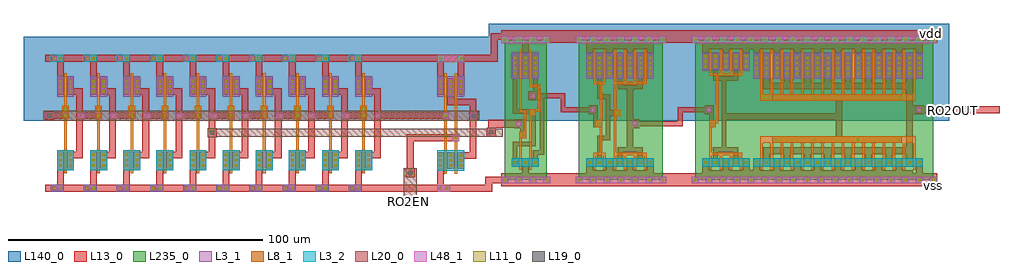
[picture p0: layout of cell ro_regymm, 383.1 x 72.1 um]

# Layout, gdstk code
import gdstk
lib = gdstk.Library(unit=1e-6, precision=1e-07)
def R(c, l, rs):  # rectangles x0, y0, x1, y1
    for r in rs: c.add(gdstk.rectangle(r[:2], r[2:], *l))
def A(c, l, x, y, w, h, nx, ny, dx, dy):  # array of equal rectangles
    R(c, l, [(x+i*dx, y+j*dy, x+i*dx+w, y+j*dy+h) for i in range(nx) for j in range(ny)])
def P(c, l, *ps):  # polygons
    for p in ps: c.add(gdstk.Polygon(p, *l))
L3_1 = (3, 1)
L3_2 = (3, 2)
L8_1 = (8, 1)
L11_0 = (11, 0)
L13_0 = (13, 0)
L19_0 = (19, 0)
L20_0 = (20, 0)
L48_1 = (48, 1)
L140_0 = (140, 0)
L235_0 = (235, 0)

buf_x4 = lib.new_cell('BUF_X4')
A(buf_x4, L3_1, -1.3, -1.3, 2.6, 2.6, 7, 1, 5.5, 0)
R(buf_x4, L3_1, [(2.8,39.7,29.4,49.9), (2.8,39.7,29.4,49.9)])
A(buf_x4, L3_2, -1.3, 53.7, 2.6, 2.6, 7, 1, 5.5, 0)
R(buf_x4, L3_2, [(2.8,5.1,29.4,8.5)])
P(buf_x4, L8_1, [(5.6,3.9),(5.6,10.7),(8.1,10.7),(8.1,20.7),(6.5,20.7),(6.5,23.3),(8.1,23.3),(8.1,37.5),(5.6,37.5),(5.6,51.1),(6.6,51.1),(6.6,38.5),(9.6,38.5),(9.6,51.1),(10.6,51.1),(10.6,37.5),(9.1,37.5),(9.1,10.7),(10.6,10.7),(10.6,3.9),(9.6,3.9),(9.6,9.7),(6.6,9.7),(6.6,3.9)],
  [(13.6,3.9),(13.6,51.1),(14.6,51.1),(14.6,38.5),(17.6,38.5),(17.6,51.1),(18.6,51.1),(18.6,38.5),(21.6,38.5),(21.6,51.1),(22.6,51.1),(22.6,38.5),(25.6,38.5),(25.6,51.1),(26.6,51.1),(26.6,37.5),(14.6,37.5),(14.6,27.5),(16.2,27.5),(16.2,24.9),(14.6,24.9),(14.6,10.7),(26.6,10.7),(26.6,3.9),(25.6,3.9),(25.6,9.7),(22.6,9.7),(22.6,3.9),(21.6,3.9),(21.6,9.7),(18.6,9.7),(18.6,3.9),(17.6,3.9),(17.6,9.7),(14.6,9.7),(14.6,3.9)])
A(buf_x4, L11_0, -0.5, -0.5, 1, 1, 7, 2, 5.5, 55)
A(buf_x4, L11_0, 3.6, 6.3, 1, 1, 3, 2, 4, 35)
A(buf_x4, L11_0, 11.6, 6.3, 1, 1, 5, 2, 4, 35)
A(buf_x4, L11_0, 3.6, 43.3, 1, 1, 3, 3, 4, 2)
A(buf_x4, L11_0, 11.6, 43.3, 1, 1, 5, 3, 4, 2)
R(buf_x4, L11_0, [(7.3,21.5,8.3,22.5), (14.4,25.7,15.4,26.7)])
P(buf_x4, L13_0, [(-1.3,-1.3),(-1.3,1.3),(2.8,1.3),(2.8,8.5),(5.4,8.5),(5.4,3.7),(10.8,3.7),(10.8,8.5),(13.4,8.5),(13.4,3.7),(18.8,3.7),(18.8,8.5),(21.4,8.5),(21.4,3.7),(26.8,3.7),(26.8,8.5),(29.4,8.5),(29.4,1.3),(34.3,1.3),(34.3,-1.3)],
  [(5.6,20.7),(5.6,25.8),(3.8,25.8),(3.8,29.2),(7.4,29.2),(7.4,23.3),(9.1,23.3),(9.1,20.7)],
  [(6.8,5.1),(6.8,8.5),(7.2,8.5),(7.2,17.3),(10.5,17.3),(10.5,31.7),(7.2,31.7),(7.2,39.7),(6.8,39.7),(6.8,49.9),(9.4,49.9),(9.4,39.7),(9,39.7),(9,33.5),(12.3,33.5),(12.3,27.5),(16.2,27.5),(16.2,24.9),(12.3,24.9),(12.3,15.5),(9,15.5),(9,8.5),(9.4,8.5),(9.4,5.1)],
  [(14.8,5.1),(14.8,8.5),(15.2,8.5),(15.2,12.7),(18.8,12.7),(18.8,35.5),(15.2,35.5),(15.2,39.7),(14.8,39.7),(14.8,49.9),(17.4,49.9),(17.4,39.7),(17,39.7),(17,37.3),(23.2,37.3),(23.2,39.7),(22.8,39.7),(22.8,49.9),(25.4,49.9),(25.4,39.7),(25,39.7),(25,35.5),(21.4,35.5),(21.4,23.7),(23.7,23.7),(23.7,20.3),(21.4,20.3),(21.4,12.7),(25,12.7),(25,8.5),(25.4,8.5),(25.4,5.1),(22.8,5.1),(22.8,8.5),(23.2,8.5),(23.2,10.9),(17,10.9),(17,8.5),(17.4,8.5),(17.4,5.1)],
  [(2.8,39.7),(2.8,53.7),(-1.3,53.7),(-1.3,56.3),(34.3,56.3),(34.3,53.7),(29.4,53.7),(29.4,39.7),(26.8,39.7),(26.8,51.3),(21.4,51.3),(21.4,39.7),(18.8,39.7),(18.8,51.3),(13.4,51.3),(13.4,39.7),(10.8,39.7),(10.8,51.3),(5.4,51.3),(5.4,39.7)])
R(buf_x4, L48_1, [(-1.3,-1.3,34.3,1.3), (21.1,21.1,22.9,22.9), (4.6,26.6,6.4,28.4), (-1.3,53.7,34.3,56.3)])
R(buf_x4, L140_0, [(-6.3,23.2,39.3,61.3)])
R(buf_x4, L235_0, [(0,0,33,55)])
buf_x4.add(gdstk.Label('Y', (22,22), layer=48, texttype=0))
buf_x4.add(gdstk.Label('A', (5.5,27.5), layer=48, texttype=0))
buf_x4.add(gdstk.Label('vdd', (0,55), layer=48, texttype=0))

buf_x16 = lib.new_cell('BUF_X16')
A(buf_x16, L3_1, -1.3, -1.3, 2.6, 2.6, 18, 1, 5.5, 0)
R(buf_x16, L3_1, [(22.8,39.7,89.4,49.9), (22.8,39.7,89.4,49.9), (2.8,43.1,21.4,49.9), (2.8,43.1,21.4,49.9)])
A(buf_x16, L3_2, -1.3, 53.7, 2.6, 2.6, 18, 1, 5.5, 0)
R(buf_x16, L3_2, [(2.8,5.1,21.4,8.5), (22.8,5.1,89.4,8.5)])
P(buf_x16, L8_1, [(25.6,3.9),(25.6,17.2),(86.6,17.2),(86.6,3.9),(85.6,3.9),(85.6,14.6),(82.6,14.6),(82.6,3.9),(81.6,3.9),(81.6,14.6),(78.6,14.6),(78.6,3.9),(77.6,3.9),(77.6,14.6),(74.6,14.6),(74.6,3.9),(73.6,3.9),(73.6,14.6),(70.6,14.6),(70.6,3.9),(69.6,3.9),(69.6,14.6),(66.6,14.6),(66.6,3.9),(65.6,3.9),(65.6,14.6),(62.6,14.6),(62.6,3.9),(61.6,3.9),(61.6,14.6),(58.6,14.6),(58.6,3.9),(57.6,3.9),(57.6,14.6),(54.6,14.6),(54.6,3.9),(53.6,3.9),(53.6,14.6),(50.6,14.6),(50.6,3.9),(49.6,3.9),(49.6,14.6),(46.6,14.6),(46.6,3.9),(45.6,3.9),(45.6,14.6),(42.6,14.6),(42.6,3.9),(41.6,3.9),(41.6,14.6),(38.6,14.6),(38.6,3.9),(37.6,3.9),(37.6,14.6),(34.6,14.6),(34.6,3.9),(33.6,3.9),(33.6,14.6),(30.6,14.6),(30.6,3.9),(29.6,3.9),(29.6,14.6),(26.6,14.6),(26.6,3.9)],
  [(5.6,3.9),(5.6,23.3),(8.1,23.3),(8.1,40.9),(5.6,40.9),(5.6,51.1),(6.6,51.1),(6.6,41.9),(9.6,41.9),(9.6,51.1),(10.6,51.1),(10.6,41.9),(13.6,41.9),(13.6,51.1),(14.6,51.1),(14.6,41.9),(17.6,41.9),(17.6,51.1),(18.6,51.1),(18.6,40.9),(9.1,40.9),(9.1,22.3),(8.2,22.3),(8.2,20.7),(6.6,20.7),(6.6,10.7),(18.6,10.7),(18.6,3.9),(17.6,3.9),(17.6,9.7),(14.6,9.7),(14.6,3.9),(13.6,3.9),(13.6,9.7),(10.6,9.7),(10.6,3.9),(9.6,3.9),(9.6,9.7),(6.6,9.7),(6.6,3.9)],
  [(25.6,31),(25.6,51.1),(26.6,51.1),(26.6,33.6),(29.6,33.6),(29.6,51.1),(30.6,51.1),(30.6,33.6),(33.6,33.6),(33.6,51.1),(34.6,51.1),(34.6,33.6),(37.6,33.6),(37.6,51.1),(38.6,51.1),(38.6,33.6),(41.6,33.6),(41.6,51.1),(42.6,51.1),(42.6,33.6),(45.6,33.6),(45.6,51.1),(46.6,51.1),(46.6,33.6),(49.6,33.6),(49.6,51.1),(50.6,51.1),(50.6,33.6),(53.6,33.6),(53.6,51.1),(54.6,51.1),(54.6,33.6),(57.6,33.6),(57.6,51.1),(58.6,51.1),(58.6,33.6),(61.6,33.6),(61.6,51.1),(62.6,51.1),(62.6,33.6),(65.6,33.6),(65.6,51.1),(66.6,51.1),(66.6,33.6),(69.6,33.6),(69.6,51.1),(70.6,51.1),(70.6,33.6),(73.6,33.6),(73.6,51.1),(74.6,51.1),(74.6,33.6),(77.6,33.6),(77.6,51.1),(78.6,51.1),(78.6,33.6),(81.6,33.6),(81.6,51.1),(82.6,51.1),(82.6,33.6),(85.6,33.6),(85.6,51.1),(86.6,51.1),(86.6,31)])
A(buf_x16, L11_0, -0.5, -0.5, 1, 1, 18, 2, 5.5, 55)
A(buf_x16, L11_0, 3.6, 6.3, 1, 1, 22, 1, 4, 0)
A(buf_x16, L11_0, 23.6, 41.3, 1, 1, 17, 4, 4, 2)
A(buf_x16, L11_0, 3.6, 44, 1, 1, 5, 3, 4, 2)
R(buf_x16, L11_0, [(31.1,15.4,32.1,16.4), (46.4,15.4,47.4,16.4), (63.4,15.4,64.4,16.4), (79.4,15.4,80.4,16.4), (6.4,21.5,7.4,22.5), (31.1,31.8,32.1,32.8), (46.6,31.8,47.6,32.8), (63.6,31.8,64.6,32.8), (79.6,31.8,80.6,32.8)])
P(buf_x16, L13_0, [(-1.3,-1.3),(-1.3,1.3),(2.8,1.3),(2.8,8.5),(5.4,8.5),(5.4,3.7),(10.8,3.7),(10.8,8.5),(13.4,8.5),(13.4,3.7),(18.8,3.7),(18.8,8.5),(21.4,8.5),(21.4,3.7),(22.8,3.7),(22.8,8.5),(25.4,8.5),(25.4,3.7),(30.8,3.7),(30.8,8.5),(33.4,8.5),(33.4,3.7),(38.8,3.7),(38.8,8.5),(41.4,8.5),(41.4,3.7),(46.8,3.7),(46.8,8.5),(49.4,8.5),(49.4,3.7),(54.8,3.7),(54.8,8.5),(57.4,8.5),(57.4,3.7),(62.8,3.7),(62.8,8.5),(65.4,8.5),(65.4,3.7),(70.8,3.7),(70.8,8.5),(73.4,8.5),(73.4,3.7),(78.8,3.7),(78.8,8.5),(81.4,8.5),(81.4,3.7),(85.4,3.7),(85.4,1.3),(86.8,1.3),(86.8,8.5),(89.4,8.5),(89.4,1.3),(94.8,1.3),(94.8,-1.3)],
  [(5.6,20.7),(5.6,25.8),(3.8,25.8),(3.8,29.2),(7.4,29.2),(7.4,23.3),(8.2,23.3),(8.2,20.7)],
  [(6.8,5.1),(6.8,8.5),(7.2,8.5),(7.2,12.7),(10.5,12.7),(10.5,38.9),(7.2,38.9),(7.2,43.1),(6.8,43.1),(6.8,49.9),(9.4,49.9),(9.4,43.1),(9,43.1),(9,40.7),(15.2,40.7),(15.2,43.1),(14.8,43.1),(14.8,49.9),(17.4,49.9),(17.4,43.1),(17,43.1),(17,38.9),(12.3,38.9),(12.3,26.2),(55.2,26.2),(55.2,31),(30.3,31),(30.3,33.6),(81.4,33.6),(81.4,31),(57.8,31),(57.8,17.2),(81.2,17.2),(81.2,14.6),(30.3,14.6),(30.3,17.2),(55.2,17.2),(55.2,23.6),(12.3,23.6),(12.3,12.7),(17,12.7),(17,8.5),(17.4,8.5),(17.4,5.1),(14.8,5.1),(14.8,8.5),(15.2,8.5),(15.2,10.9),(9,10.9),(9,8.5),(9.4,8.5),(9.4,5.1)],
  [(26.8,5.1),(26.8,12.7),(82.8,12.7),(82.8,35.5),(26.8,35.5),(26.8,49.9),(29.4,49.9),(29.4,38.1),(34.8,38.1),(34.8,49.9),(37.4,49.9),(37.4,38.1),(42.8,38.1),(42.8,49.9),(45.4,49.9),(45.4,38.1),(50.8,38.1),(50.8,49.9),(53.4,49.9),(53.4,38.1),(58.8,38.1),(58.8,49.9),(61.4,49.9),(61.4,38.1),(66.8,38.1),(66.8,49.9),(69.4,49.9),(69.4,38.1),(74.8,38.1),(74.8,49.9),(77.4,49.9),(77.4,38.1),(82.8,38.1),(82.8,49.9),(85.4,49.9),(85.4,29.2),(89.7,29.2),(89.7,25.8),(85.4,25.8),(85.4,5.1),(82.8,5.1),(82.8,10.1),(77.4,10.1),(77.4,5.1),(74.8,5.1),(74.8,10.1),(69.4,10.1),(69.4,5.1),(66.8,5.1),(66.8,10.1),(61.4,10.1),(61.4,5.1),(58.8,5.1),(58.8,10.1),(53.4,10.1),(53.4,5.1),(50.8,5.1),(50.8,10.1),(45.4,10.1),(45.4,5.1),(42.8,5.1),(42.8,10.1),(37.4,10.1),(37.4,5.1),(34.8,5.1),(34.8,10.1),(29.4,10.1),(29.4,5.1)],
  [(22.8,39.7),(22.8,51.3),(21.4,51.3),(21.4,43.1),(18.8,43.1),(18.8,51.3),(13.4,51.3),(13.4,43.1),(10.8,43.1),(10.8,51.3),(5.4,51.3),(5.4,43.1),(2.8,43.1),(2.8,53.7),(-1.3,53.7),(-1.3,56.3),(94.8,56.3),(94.8,53.7),(89.4,53.7),(89.4,39.7),(86.8,39.7),(86.8,51.3),(81.4,51.3),(81.4,39.7),(78.8,39.7),(78.8,51.3),(73.4,51.3),(73.4,39.7),(70.8,39.7),(70.8,51.3),(65.4,51.3),(65.4,39.7),(62.8,39.7),(62.8,51.3),(57.4,51.3),(57.4,39.7),(54.8,39.7),(54.8,51.3),(49.4,51.3),(49.4,39.7),(46.8,39.7),(46.8,51.3),(41.4,51.3),(41.4,39.7),(38.8,39.7),(38.8,51.3),(33.4,51.3),(33.4,39.7),(30.8,39.7),(30.8,51.3),(25.4,51.3),(25.4,39.7)])
R(buf_x16, L48_1, [(-1.3,-1.3,94.8,1.3), (4.6,26.6,6.4,28.4), (4.6,26.6,6.4,28.4), (87.1,26.6,88.9,28.4), (-1.3,53.7,94.8,56.3)])
R(buf_x16, L140_0, [(-6.3,23.2,99.8,61.3)])
R(buf_x16, L235_0, [(0,0,93.5,55)])
buf_x16.add(gdstk.Label('vdd', (0,55), layer=48, texttype=0))
buf_x16.add(gdstk.Label('Y', (88,27.5), layer=48, texttype=0))
buf_x16.add(gdstk.Label('A', (5.5,27.5), layer=48, texttype=0))
buf_x16.add(gdstk.Label('A', (5.5,27.5), layer=48, texttype=0))
buf_x16.add(gdstk.Label('gnd', (0,0), layer=48, texttype=0))

inverter_regymm = lib.new_cell('inverter_regymm')
R(inverter_regymm, L3_1, [(-9.6,55.2,-7,57.8), (-7.1,55.2,-4.5,57.8), (-7.1,92.5,-0.5,100.5)])
R(inverter_regymm, L3_2, [(-7.1,63.5,-0.5,71.5), (-9.6,106.2,-7,108.8), (-7.1,106.2,-4.5,108.8)])
R(inverter_regymm, L8_1, [(-5.1,83.7,-2.5,86.3), (-5.1,86.2,-2.5,88.8)])
A(inverter_regymm, L11_0, -6.3, 65, 1, 1, 1, 3, 0, 2)
A(inverter_regymm, L11_0, -2.3, 65, 1, 1, 1, 3, 0, 2)
A(inverter_regymm, L11_0, -6.3, 94, 1, 1, 1, 3, 0, 2)
A(inverter_regymm, L11_0, -2.3, 94, 1, 1, 1, 3, 0, 2)
R(inverter_regymm, L11_0, [(-8.8,56,-7.8,57), (-6.3,56,-5.3,57), (-4.3,84.5,-3.3,85.5), (-4.3,87,-3.3,88), (-8.8,107,-7.8,108), (-6.3,107,-5.3,108)])
R(inverter_regymm, L13_0, [(-9.6,55.2,-7,57.8), (-7.1,55.2,-4.5,57.8), (-7.1,64.2,-4.5,70.8), (-3.1,64.2,-0.5,70.8), (-5.1,83.7,-2.5,86.3), (-5.1,86.2,-2.5,88.8), (-7.1,93.2,-4.5,99.8), (-3.1,93.2,-0.5,99.8), (-9.6,106.2,-7,108.8), (-7.1,106.2,-4.5,108.8)])
R(inverter_regymm, L48_1, [(-9.3,55.5,-7.3,57.5), (-11.3,84,-9.3,86), (0.7,84,2.7,86), (-9.3,106.5,-7.3,108.5)])
R(inverter_regymm, L140_0, [(-20.3,83,14.7,116)])
inverter_regymm.add(gdstk.FlexPath([(-1.8,94.5),(1.7,94.5),(1.7,69.5),(-1.8,69.5)], 2.6, ends="flush", simple_path=True, layer=13, datatype=0))  # L13_0
inverter_regymm.add(gdstk.FlexPath([(-5.8,98.5),(-5.8,107.5)], 2.6, ends="flush", simple_path=True, layer=13, datatype=0))  # L13_0
inverter_regymm.add(gdstk.FlexPath([(-5.8,56.5),(-5.8,65.5)], 2.6, ends="flush", simple_path=True, layer=13, datatype=0))  # L13_0
inverter_regymm.add(gdstk.FlexPath([(-3.8,87.5),(-3.8,85),(-11.8,85)], 2.6, ends="flush", simple_path=True, layer=13, datatype=0))  # L13_0
inverter_regymm.add(gdstk.FlexPath([(-11.8,56.5),(3.5,56.5),(3.5,56.5)], 2.6, ends="flush", simple_path=True, layer=13, datatype=0))  # L13_0
inverter_regymm.add(gdstk.FlexPath([(-11.8,107.5),(3.5,107.5),(3.5,107.5)], 2.6, ends="flush", simple_path=True, layer=13, datatype=0))  # L13_0
inverter_regymm.add(gdstk.FlexPath([(-3.8,92),(-3.8,71.5)], 1, ends="flush", simple_path=True, layer=8, datatype=1))  # L8_1
inverter_regymm.add(gdstk.FlexPath([(-3.8,62.3),(-3.8,72.7)], 1, ends="flush", simple_path=True, layer=8, datatype=1))  # L8_1
inverter_regymm.add(gdstk.FlexPath([(-3.8,91.3),(-3.8,101.7)], 1, ends="flush", simple_path=True, layer=8, datatype=1))  # L8_1
inverter_regymm.add(gdstk.Label('vdd', (-8.8,107.5), layer=48, texttype=0))
inverter_regymm.add(gdstk.Label('vss', (-8.8,56.5), layer=48, texttype=0))
inverter_regymm.add(gdstk.Label('A', (-10.8,85), layer=48, texttype=1))
inverter_regymm.add(gdstk.Label('Y', (1.2,85), layer=48, texttype=1))

via_1 = lib.new_cell('via_1')
R(via_1, L13_0, [(-1.7,-1.7,1.7,1.7)])
R(via_1, L19_0, [(-0.7,-0.7,0.7,0.7)])
R(via_1, L20_0, [(-1.7,-1.7,1.7,1.7)])

buf_x1 = lib.new_cell('BUF_X1')
A(buf_x1, L3_1, -1.3, -1.3, 2.6, 2.6, 4, 1, 5.5, 0)
R(buf_x1, L3_1, [(2.8,39.7,13.4,49.9), (2.8,39.7,13.4,49.9)])
A(buf_x1, L3_2, -1.3, 53.7, 2.6, 2.6, 4, 1, 5.5, 0)
R(buf_x1, L3_2, [(2.8,5.1,13.4,8.5)])
P(buf_x1, L8_1, [(5.6,3.9),(5.6,18.9),(7.4,18.9),(7.4,26.4),(5.6,26.4),(5.6,51.1),(6.6,51.1),(6.6,27.4),(8.4,27.4),(8.4,16.3),(6.6,16.3),(6.6,3.9)],
  [(9.6,3.9),(9.6,27.7),(12.9,27.7),(12.9,36.4),(9.6,36.4),(9.6,51.1),(10.6,51.1),(10.6,37.4),(13.9,37.4),(13.9,26.7),(12.2,26.7),(12.2,25.1),(10.6,25.1),(10.6,3.9)])
A(buf_x1, L11_0, -0.5, -0.5, 1, 1, 4, 2, 5.5, 55)
A(buf_x1, L11_0, 3.6, 41.3, 1, 1, 1, 4, 0, 2)
A(buf_x1, L11_0, 11.6, 41.3, 1, 1, 1, 4, 0, 2)
R(buf_x1, L11_0, [(3.6,6.3,4.6,7.3), (7.6,6.3,8.6,7.3), (7.6,6.3,8.6,7.3), (11.6,6.3,12.6,7.3), (6.4,17.1,7.4,18.1), (10.4,25.9,11.4,26.9), (7.6,41.3,8.6,42.3), (7.6,41.3,8.6,42.3), (7.6,43.3,8.6,44.3), (7.6,43.3,8.6,44.3), (7.6,45.3,8.6,46.3), (7.6,45.3,8.6,46.3), (7.6,47.3,8.6,48.3), (7.6,47.3,8.6,48.3)])
P(buf_x1, L13_0, [(-1.3,-1.3),(-1.3,1.3),(6.8,1.3),(6.8,8.5),(9.4,8.5),(9.4,1.3),(17.8,1.3),(17.8,-1.3)],
  [(5.6,16.3),(5.6,18.9),(6,18.9),(6,20.3),(3.8,20.3),(3.8,23.7),(7.8,23.7),(7.8,18.9),(8.2,18.9),(8.2,16.3)],
  [(2.8,5.1),(2.8,8.5),(3.2,8.5),(3.2,14.9),(10.4,14.9),(10.4,25.1),(9.6,25.1),(9.6,25.9),(3.2,25.9),(3.2,39.7),(2.8,39.7),(2.8,49.9),(5.4,49.9),(5.4,39.7),(5,39.7),(5,27.7),(12.2,27.7),(12.2,13.1),(5,13.1),(5,8.5),(5.4,8.5),(5.4,5.1)],
  [(10.8,5.1),(10.8,8.5),(11.2,8.5),(11.2,11.7),(13.8,11.7),(13.8,31.3),(9.3,31.3),(9.3,34.7),(11.2,34.7),(11.2,39.7),(10.8,39.7),(10.8,49.9),(13.4,49.9),(13.4,39.7),(13,39.7),(13,33.1),(15.6,33.1),(15.6,9.9),(13,9.9),(13,8.5),(13.4,8.5),(13.4,5.1)],
  [(6.8,39.7),(6.8,53.7),(-1.3,53.7),(-1.3,56.3),(17.8,56.3),(17.8,53.7),(9.4,53.7),(9.4,39.7)])
R(buf_x1, L48_1, [(-1.3,-1.3,17.8,1.3), (4.6,21.1,6.4,22.9), (10.1,32.1,11.9,33.9), (-1.3,53.7,17.8,56.3)])
R(buf_x1, L140_0, [(-6.3,23.2,22.8,61.3)])
R(buf_x1, L235_0, [(0,0,16.5,55)])
buf_x1.add(gdstk.Label('vdd', (0,55), layer=48, texttype=0))
buf_x1.add(gdstk.Label('gnd', (0,0), layer=48, texttype=0))
buf_x1.add(gdstk.Label('Y', (11,33), layer=48, texttype=0))
buf_x1.add(gdstk.Label('A', (5.5,22), layer=48, texttype=0))

fet_p = lib.new_cell('fet_p')
R(fet_p, L3_1, [(-5.3,-4,5.3,4)])
A(fet_p, L11_0, -4.5, -2.5, 1, 1, 3, 3, 4, 2)
A(fet_p, L13_0, -5.3, -3.3, 2.6, 6.6, 3, 1, 4, 0)
fet_p.add(gdstk.FlexPath([(2,-5.2),(2,5.2)], 1, ends="flush", simple_path=True, layer=8, datatype=1))  # L8_1
fet_p.add(gdstk.FlexPath([(-2,-5.2),(-2,5.2)], 1, ends="flush", simple_path=True, layer=8, datatype=1))  # L8_1

cont_n = lib.new_cell('cont_n')
R(cont_n, L3_2, [(-1.3,-1.3,1.3,1.3)])
R(cont_n, L11_0, [(-0.5,-0.5,0.5,0.5)])
R(cont_n, L13_0, [(-1.3,-1.3,1.3,1.3)])

cont_g = lib.new_cell('cont_g')
R(cont_g, L8_1, [(-1.3,-1.3,1.3,1.3)])
R(cont_g, L11_0, [(-0.5,-0.5,0.5,0.5)])
R(cont_g, L13_0, [(-1.3,-1.3,1.3,1.3)])

cont_p = lib.new_cell('cont_p')
R(cont_p, L3_1, [(-1.3,-1.3,1.3,1.3)])
R(cont_p, L11_0, [(-0.5,-0.5,0.5,0.5)])
R(cont_p, L13_0, [(-1.3,-1.3,1.3,1.3)])

fet_n = lib.new_cell('fet_n')
R(fet_n, L3_2, [(-5.3,-4,5.3,4)])
A(fet_n, L11_0, -4.5, -2.5, 1, 1, 3, 3, 4, 2)
A(fet_n, L13_0, -5.3, -3.3, 2.6, 6.6, 3, 1, 4, 0)
fet_n.add(gdstk.FlexPath([(2,-5.2),(2,5.2)], 1, ends="flush", simple_path=True, layer=8, datatype=1))  # L8_1
fet_n.add(gdstk.FlexPath([(-2,-5.2),(-2,5.2)], 1, ends="flush", simple_path=True, layer=8, datatype=1))  # L8_1

nand2_regymm = lib.new_cell('nand2_regymm')
R(nand2_regymm, L48_1, [(12.5,0.1,17.5,2.6), (18.5,19.8,21,22.3), (14.5,28.6,17,31.1), (25.3,28.6,27.8,31.1), (12.5,50.9,23,53.6)])
R(nand2_regymm, L140_0, [(0,27.9,35,60.9)])
nand2_regymm.add(gdstk.FlexPath([(17.7,39.4),(17.7,35.2),(26.5,35.2),(26.5,14.2),(20.7,14.2),(20.7,14.2)], 2.6, ends="flush", simple_path=True, layer=13, datatype=0))  # L13_0
nand2_regymm.add(gdstk.FlexPath([(13.7,43.4),(13.7,52.4)], 2.6, ends="flush", simple_path=True, layer=13, datatype=0))  # L13_0
nand2_regymm.add(gdstk.FlexPath([(21.7,43.4),(21.7,52.4)], 2.6, ends="flush", simple_path=True, layer=13, datatype=0))  # L13_0
nand2_regymm.add(gdstk.FlexPath([(13.7,1.4),(13.7,10.4)], 2.6, ends="flush", simple_path=True, layer=13, datatype=0))  # L13_0
nand2_regymm.add(gdstk.FlexPath([(15.7,37.2),(15.7,16.7)], 1, ends="flush", simple_path=True, layer=8, datatype=1))  # L8_1
nand2_regymm.add(gdstk.FlexPath([(19.7,37.2),(19.7,16.7)], 1, ends="flush", simple_path=True, layer=8, datatype=1))  # L8_1
nand2_regymm.add(gdstk.Reference(fet_p, (17.7,41.3)))
nand2_regymm.add(gdstk.Reference(cont_n, (13.7,52.3)))
nand2_regymm.add(gdstk.Reference(cont_g, (15.7,29.8)))
nand2_regymm.add(gdstk.Reference(cont_g, (19.7,21.1)))
nand2_regymm.add(gdstk.Reference(cont_n, (21.7,52.3)))
nand2_regymm.add(gdstk.Reference(cont_p, (13.7,1.3)))
nand2_regymm.add(gdstk.Reference(cont_p, (16.2,1.3)))
nand2_regymm.add(gdstk.Reference(fet_n, (17.7,12.3)))
nand2_regymm.add(gdstk.Label('A', (19,20.8), layer=48, texttype=0))
nand2_regymm.add(gdstk.Label('vss', (13.2,1.1), layer=48, texttype=0))
nand2_regymm.add(gdstk.Label('vdd', (13.2,52.1), layer=48, texttype=0))
nand2_regymm.add(gdstk.Label('Y', (25.8,29.5), layer=48, texttype=0))
nand2_regymm.add(gdstk.Label('B', (15,29.4), layer=48, texttype=0))

ro_regymm = lib.new_cell('ro_regymm')
ro_regymm.add(gdstk.FlexPath([(252.3,86.8),(243.1,86.8),(243.1,81.8)], 3, ends="flush", simple_path=True, layer=13, datatype=0))  # L13_0
ro_regymm.add(gdstk.FlexPath([(230.3,81.3),(211,81.3),(211,66.3)], 2.6, ends="flush", simple_path=True, layer=13, datatype=0))  # L13_0
ro_regymm.add(gdstk.FlexPath([(195.7,112.5),(236,112.5),(236,112.5)], 2.6, ends="flush", simple_path=True, layer=13, datatype=0))  # L13_0
ro_regymm.add(gdstk.FlexPath([(195.7,61.5),(236,61.5),(236,61.5)], 2.6, ends="flush", simple_path=True, layer=13, datatype=0))  # L13_0
ro_regymm.add(gdstk.FlexPath([(197,90),(225.3,90),(225.3,90)], 2.6, ends="flush", simple_path=True, layer=13, datatype=0))  # L13_0
ro_regymm.add(gdstk.FlexPath([(246.8,121.1),(417.8,121.1)], 5, ends="flush", simple_path=True, layer=13, datatype=0))  # L13_0
ro_regymm.add(gdstk.FlexPath([(246.8,64.8),(417.8,64.8)], 5, ends="flush", simple_path=True, layer=13, datatype=0))  # L13_0
ro_regymm.add(gdstk.FlexPath([(259,97.8),(271,97.8),(271,92.3),(282.5,92.3)], 1.8, ends="flush", simple_path=True, layer=13, datatype=0))  # L13_0
ro_regymm.add(gdstk.FlexPath([(299,86.8),(317,86.8),(317,92.3),(328,92.3)], 1.8, ends="flush", simple_path=True, layer=13, datatype=0))  # L13_0
ro_regymm.add(gdstk.FlexPath([(235.3,61.5),(241.8,61.5),(241.8,64.8),(248,64.8)], 2.6, ends="flush", simple_path=True, layer=13, datatype=0))  # L13_0
ro_regymm.add(gdstk.FlexPath([(234.8,112.5),(244,112.5),(244,121),(248,121),(248,121),(248,121)], 2.6, ends="flush", simple_path=True, layer=13, datatype=0))  # L13_0
ro_regymm.add(gdstk.FlexPath([(409.8,92.3),(442.3,92.3)], 2.6, ends="flush", simple_path=True, layer=13, datatype=0))  # L13_0
ro_regymm.add(gdstk.FlexPath([(238,90),(67,90)], 4, ends="flush", simple_path=True, layer=20, datatype=0))  # L20_0
ro_regymm.add(gdstk.FlexPath([(211,69.3),(211,54)], 5, ends="flush", simple_path=True, layer=20, datatype=0))  # L20_0
ro_regymm.add(gdstk.FlexPath([(131.8,83.3),(247.3,83.3)], 3, ends="flush", simple_path=True, layer=20, datatype=0))  # L20_0
ro_regymm.add(gdstk.Reference(buf_x4, (277.2,64.8)))
ro_regymm.add(gdstk.Reference(buf_x16, (322.8,64.8)))
r = gdstk.Reference(inverter_regymm, (79.5,5)); r.repetition = gdstk.Repetition(10, 1, v1=(13,0), v2=(0,0)); ro_regymm.add(r)
ro_regymm.add(gdstk.Reference(via_1, (133.3,83.3)))
ro_regymm.add(gdstk.Reference(via_1, (69.3,90)))
ro_regymm.add(gdstk.Reference(via_1, (235.8,89.8)))
ro_regymm.add(gdstk.Reference(via_1, (211,67.5)))
ro_regymm.add(gdstk.Reference(via_1, (211,56.3)))
ro_regymm.add(gdstk.Reference(buf_x1, (248.1,64.8)))
ro_regymm.add(gdstk.Reference(via_1, (242.8,83.5)))
ro_regymm.add(gdstk.Reference(nand2_regymm, (209.2,60.1)))
ro_regymm.add(gdstk.Label('RO2EN', (210.3,56.3), layer=48, texttype=0))
ro_regymm.add(gdstk.Label('vss', (416.3,62.7), layer=48, texttype=0))
ro_regymm.add(gdstk.Label('RO2OUT', (424,92), layer=48, texttype=0))
ro_regymm.add(gdstk.Label('vdd', (415.8,122.3), layer=48, texttype=0))

lib.write_gds('ro_regymm.gds')
